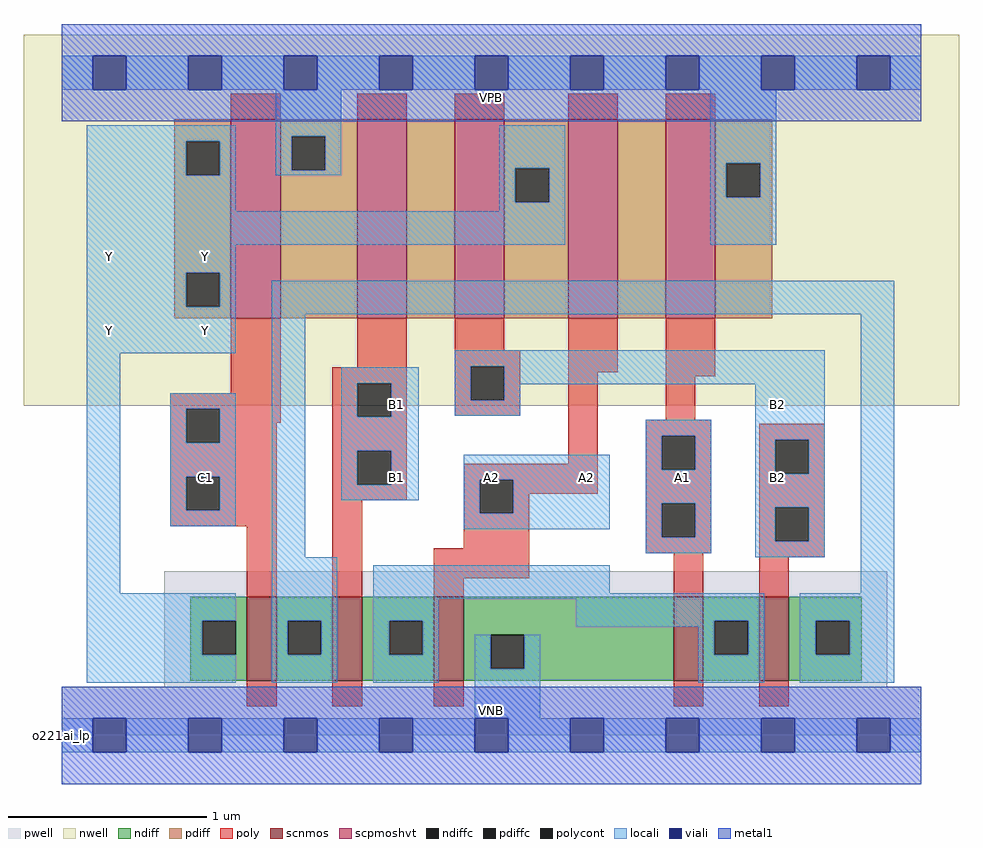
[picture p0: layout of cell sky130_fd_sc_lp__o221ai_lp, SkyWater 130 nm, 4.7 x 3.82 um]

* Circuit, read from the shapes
.subckt sky130_fd_sc_lp__o221ai_lp A1 A2 B1 B2 C1 VGND VNB VPB VPWR Y
XM1 n1 C1 Y VNB sky130_fd_pr__nfet_01v8 w=0.42 l=0.15
XM2 n2 B1 n1 VNB sky130_fd_pr__nfet_01v8 w=0.42 l=0.15
XM3 VGND A2 n2 VNB sky130_fd_pr__nfet_01v8 w=0.42 l=0.15
XM4 n2 A1 VGND VNB sky130_fd_pr__nfet_01v8 w=0.42 l=0.15
XM5 n1 B2 n2 VNB sky130_fd_pr__nfet_01v8 w=0.42 l=0.15
XM6 VPWR C1 Y VPB sky130_fd_pr__pfet_01v8_hvt w=1 l=0.25
XM7 n3 B1 VPWR VPB sky130_fd_pr__pfet_01v8_hvt w=1 l=0.25
XM8 Y B2 n3 VPB sky130_fd_pr__pfet_01v8_hvt w=1 l=0.25
XM9 n4 A2 Y VPB sky130_fd_pr__pfet_01v8_hvt w=1 l=0.25
XM10 VPWR A1 n4 VPB sky130_fd_pr__pfet_01v8_hvt w=1 l=0.25
.ends

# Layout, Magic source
magic
tech sky130A
magscale 1 2
<< nwell >>
rect -38 331 902 704
<< pwell >>
rect 103 49 830 165
rect 0 0 864 49
<< scnmos >>
rect 186 55 216 139
rect 272 55 302 139
rect 374 55 404 139
rect 615 55 645 139
rect 701 55 731 139
<< scpmoshvt >>
rect 170 419 220 619
rect 297 419 347 619
rect 395 419 445 619
rect 509 419 559 619
rect 607 419 657 619
<< ndiff >>
rect 129 115 186 139
rect 129 81 141 115
rect 175 81 186 115
rect 129 55 186 81
rect 216 115 272 139
rect 216 81 227 115
rect 261 81 272 115
rect 216 55 272 81
rect 302 115 374 139
rect 302 81 329 115
rect 363 81 374 115
rect 302 55 374 81
rect 404 101 615 139
rect 404 67 431 101
rect 465 67 615 101
rect 404 55 615 67
rect 645 115 701 139
rect 645 81 656 115
rect 690 81 701 115
rect 645 55 701 81
rect 731 115 804 139
rect 731 81 758 115
rect 792 81 804 115
rect 731 55 804 81
<< pdiff >>
rect 113 597 170 619
rect 113 563 125 597
rect 159 563 170 597
rect 113 465 170 563
rect 113 431 125 465
rect 159 431 170 465
rect 113 419 170 431
rect 220 602 297 619
rect 220 568 231 602
rect 265 568 297 602
rect 220 419 297 568
rect 347 419 395 619
rect 445 570 509 619
rect 445 536 456 570
rect 490 536 509 570
rect 445 419 509 536
rect 559 419 607 619
rect 657 575 714 619
rect 657 541 668 575
rect 702 541 714 575
rect 657 419 714 541
<< ndiffc >>
rect 141 81 175 115
rect 227 81 261 115
rect 329 81 363 115
rect 431 67 465 101
rect 656 81 690 115
rect 758 81 792 115
<< pdiffc >>
rect 125 563 159 597
rect 125 431 159 465
rect 231 568 265 602
rect 456 536 490 570
rect 668 541 702 575
<< poly >>
rect 170 619 220 645
rect 297 619 347 645
rect 395 619 445 645
rect 509 619 559 645
rect 607 619 657 645
rect 170 344 220 419
rect 297 370 347 419
rect 109 328 220 344
rect 109 294 125 328
rect 159 314 220 328
rect 272 354 347 370
rect 272 320 297 354
rect 331 320 347 354
rect 395 387 445 419
rect 395 371 461 387
rect 395 337 411 371
rect 445 337 461 371
rect 395 321 461 337
rect 509 365 559 419
rect 159 294 216 314
rect 109 260 216 294
rect 109 226 125 260
rect 159 226 216 260
rect 109 210 216 226
rect 186 139 216 210
rect 272 286 347 320
rect 272 252 297 286
rect 331 252 347 286
rect 509 273 539 365
rect 607 361 657 419
rect 607 317 637 361
rect 272 236 347 252
rect 404 257 539 273
rect 272 139 302 236
rect 404 223 420 257
rect 454 243 539 257
rect 587 301 653 317
rect 587 267 603 301
rect 637 267 653 301
rect 454 223 470 243
rect 404 188 470 223
rect 374 158 470 188
rect 587 233 653 267
rect 587 199 603 233
rect 637 199 653 233
rect 587 183 653 199
rect 701 297 767 313
rect 701 263 717 297
rect 751 263 767 297
rect 701 229 767 263
rect 701 195 717 229
rect 751 195 767 229
rect 374 139 404 158
rect 615 139 645 183
rect 701 179 767 195
rect 701 139 731 179
rect 186 29 216 55
rect 272 29 302 55
rect 374 29 404 55
rect 615 29 645 55
rect 701 29 731 55
<< polycont >>
rect 125 294 159 328
rect 297 320 331 354
rect 411 337 445 371
rect 125 226 159 260
rect 297 252 331 286
rect 420 223 454 257
rect 603 267 637 301
rect 603 199 637 233
rect 717 263 751 297
rect 717 195 751 229
<< locali >>
rect 0 649 31 683
rect 65 649 127 683
rect 161 649 223 683
rect 257 649 319 683
rect 353 649 415 683
rect 449 649 511 683
rect 545 649 607 683
rect 641 649 703 683
rect 737 649 799 683
rect 833 649 864 683
rect 25 597 175 613
rect 25 563 125 597
rect 159 563 175 597
rect 215 602 281 649
rect 215 568 231 602
rect 265 568 281 602
rect 215 563 281 568
rect 440 570 506 613
rect 25 527 175 563
rect 440 536 456 570
rect 490 536 506 570
rect 440 527 506 536
rect 25 493 506 527
rect 652 575 718 649
rect 652 541 668 575
rect 702 541 718 575
rect 652 493 718 541
rect 25 465 175 493
rect 25 431 125 465
rect 159 431 175 465
rect 25 384 175 431
rect 211 423 837 457
rect 25 143 59 384
rect 109 328 175 344
rect 109 294 125 328
rect 159 294 175 328
rect 109 260 175 294
rect 109 226 125 260
rect 159 226 175 260
rect 109 210 175 226
rect 211 179 245 423
rect 395 371 767 387
rect 281 354 359 370
rect 281 320 297 354
rect 331 320 359 354
rect 395 337 411 371
rect 445 353 767 371
rect 445 337 461 353
rect 395 321 461 337
rect 281 286 359 320
rect 281 252 297 286
rect 331 252 359 286
rect 587 301 653 317
rect 281 236 359 252
rect 404 257 551 282
rect 404 223 420 257
rect 454 223 551 257
rect 404 207 551 223
rect 587 267 603 301
rect 637 267 653 301
rect 587 233 653 267
rect 587 199 603 233
rect 637 199 653 233
rect 587 183 653 199
rect 697 297 767 353
rect 697 263 717 297
rect 751 263 767 297
rect 697 229 767 263
rect 697 195 717 229
rect 751 195 767 229
rect 697 179 767 195
rect 25 115 175 143
rect 25 81 141 115
rect 25 53 175 81
rect 211 115 277 179
rect 211 81 227 115
rect 261 81 277 115
rect 211 53 277 81
rect 313 143 551 171
rect 803 143 837 423
rect 313 137 706 143
rect 313 115 379 137
rect 313 81 329 115
rect 363 81 379 115
rect 517 115 706 137
rect 517 109 656 115
rect 313 53 379 81
rect 415 67 431 101
rect 465 67 481 101
rect 415 17 481 67
rect 640 81 656 109
rect 690 81 706 115
rect 640 53 706 81
rect 742 115 837 143
rect 742 81 758 115
rect 792 81 837 115
rect 742 53 837 81
rect 0 -17 31 17
rect 65 -17 127 17
rect 161 -17 223 17
rect 257 -17 319 17
rect 353 -17 415 17
rect 449 -17 511 17
rect 545 -17 607 17
rect 641 -17 703 17
rect 737 -17 799 17
rect 833 -17 864 17
<< viali >>
rect 31 649 65 683
rect 127 649 161 683
rect 223 649 257 683
rect 319 649 353 683
rect 415 649 449 683
rect 511 649 545 683
rect 607 649 641 683
rect 703 649 737 683
rect 799 649 833 683
rect 31 -17 65 17
rect 127 -17 161 17
rect 223 -17 257 17
rect 319 -17 353 17
rect 415 -17 449 17
rect 511 -17 545 17
rect 607 -17 641 17
rect 703 -17 737 17
rect 799 -17 833 17
<< metal1 >>
rect 0 683 864 715
rect 0 649 31 683
rect 65 649 127 683
rect 161 649 223 683
rect 257 649 319 683
rect 353 649 415 683
rect 449 649 511 683
rect 545 649 607 683
rect 641 649 703 683
rect 737 649 799 683
rect 833 649 864 683
rect 0 617 864 649
rect 0 17 864 49
rect 0 -17 31 17
rect 65 -17 127 17
rect 161 -17 223 17
rect 257 -17 319 17
rect 353 -17 415 17
rect 449 -17 511 17
rect 545 -17 607 17
rect 641 -17 703 17
rect 737 -17 799 17
rect 833 -17 864 17
rect 0 -49 864 -17
<< labels >>
flabel pwell s 0 0 864 49 0 FreeSans 200 0 0 0 VNB
port 7 nsew ground bidirectional
flabel nwell s 0 617 864 666 0 FreeSans 200 0 0 0 VPB
port 8 nsew power bidirectional
rlabel comment s 0 0 0 0 4 o221ai_lp
flabel metal1 s 0 617 864 666 0 FreeSans 340 0 0 0 VPWR
port 9 nsew power bidirectional
flabel metal1 s 0 0 864 49 0 FreeSans 340 0 0 0 VGND
port 6 nsew ground bidirectional
flabel locali s 31 390 65 424 0 FreeSans 340 0 0 0 Y
port 10 nsew signal output
flabel locali s 31 464 65 498 0 FreeSans 340 0 0 0 Y
port 10 nsew signal output
flabel locali s 127 390 161 424 0 FreeSans 340 0 0 0 Y
port 10 nsew signal output
flabel locali s 127 464 161 498 0 FreeSans 340 0 0 0 Y
port 10 nsew signal output
flabel locali s 319 242 353 276 0 FreeSans 340 0 0 0 B1
port 3 nsew signal input
flabel locali s 319 316 353 350 0 FreeSans 340 0 0 0 B1
port 3 nsew signal input
flabel locali s 415 242 449 276 0 FreeSans 340 0 0 0 A2
port 2 nsew signal input
flabel locali s 511 242 545 276 0 FreeSans 340 0 0 0 A2
port 2 nsew signal input
flabel locali s 607 242 641 276 0 FreeSans 340 0 0 0 A1
port 1 nsew signal input
flabel locali s 127 242 161 276 0 FreeSans 340 0 0 0 C1
port 5 nsew signal input
flabel locali s 703 242 737 276 0 FreeSans 340 0 0 0 B2
port 4 nsew signal input
flabel locali s 703 316 737 350 0 FreeSans 340 0 0 0 B2
port 4 nsew signal input
<< properties >>
string LEFsite unit
string LEFclass CORE
string FIXED_BBOX 0 0 864 666
string GDS_FILE $PDKPATH/libs.ref/sky130_fd_sc_lp/gds/sky130_fd_sc_lp.gds
string LEFsymmetry X Y R90
string GDS_END 5814792
string GDS_START 5807584
<< end >>
